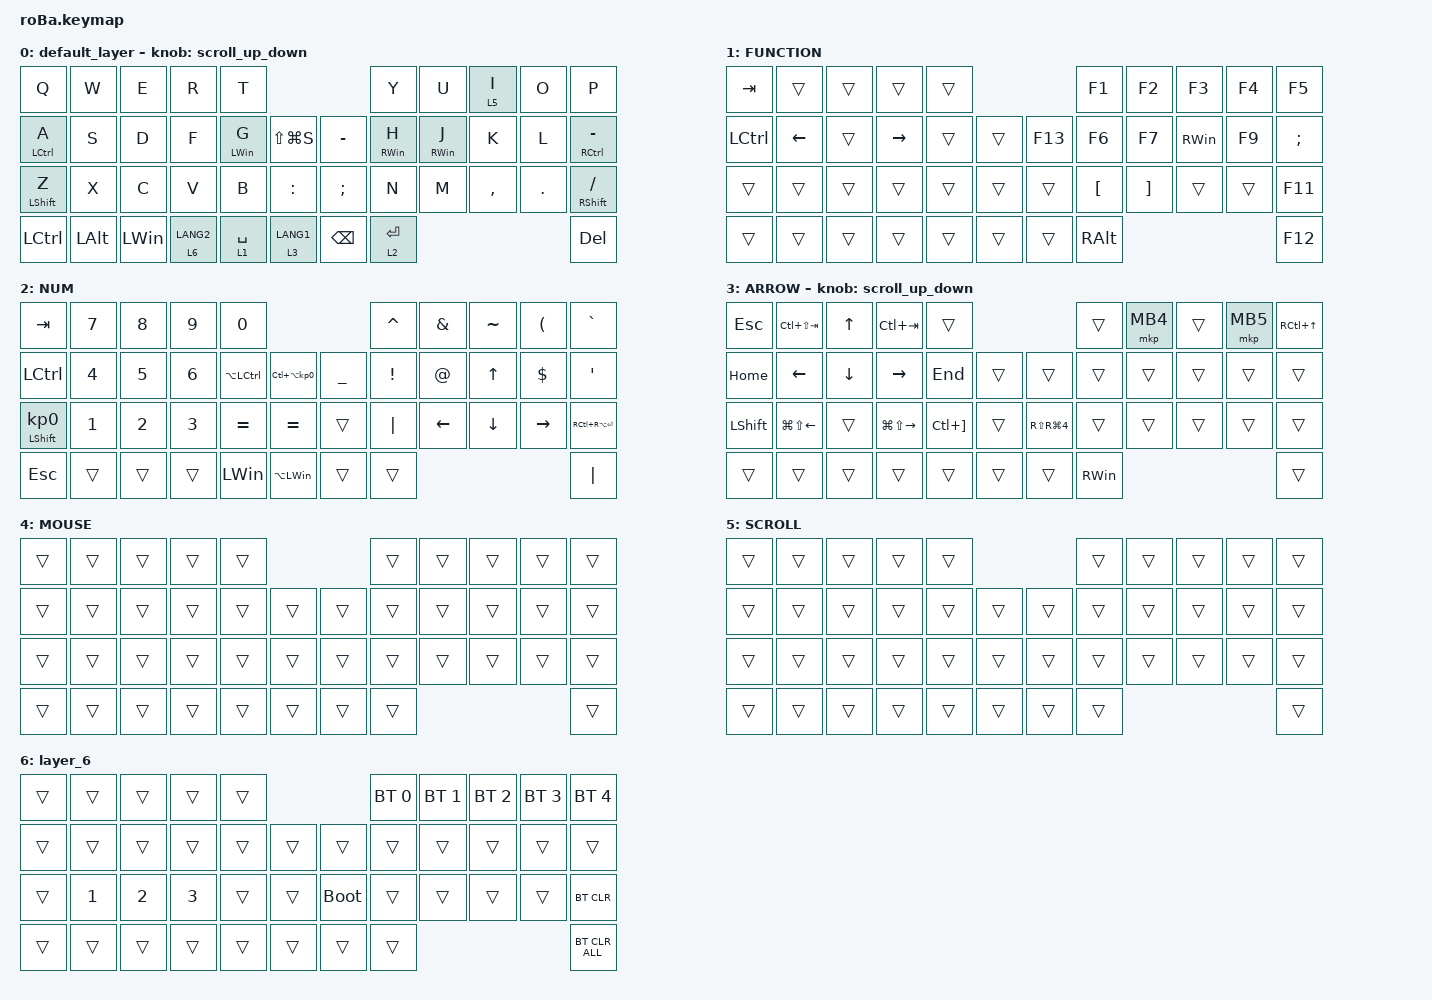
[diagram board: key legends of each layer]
// エンコーダ 1 ノッチあたりのマウススクロール量（デフォルト 10）。調整可能。

#define ZMK_POINTING_DEFAULT_SCRL_VAL 20

#include <behaviors.dtsi>
#include <dt-bindings/zmk/bt.h>
#include <dt-bindings/zmk/keys.h>
#include <dt-bindings/zmk/pointing.h>

&mt {
    flavor = "balanced";
    quick-tap-ms = <0>;
};

&trackball {
    automouse-layer = <4>;
    scroll-layers = <5>;

    // arrows {
    //     layers = <3>;
    //     bindings =
    //         <&kp RIGHT_ARROW>,
    //         <&kp LEFT_ARROW>,
    //         <&kp UP_ARROW>,
    //         <&kp DOWN_ARROW>;
    //     tick = <10>;
    //     wait-ms = <5>;
    //     tap-ms = <5>;
    // };
};

/ {
    combos {
        compatible = "zmk,combos";

        leftMouse {
            bindings = <&mkp MB1>;
            key-positions = <18 19>;
        };

        rightMouse {
            bindings = <&mkp MB2>;
            key-positions = <20 19>;
        };

        midMouse {
            bindings = <&mkp MB3>;
            key-positions = <18 20>;
        };
    };

    macros {
        to_layer_0: to_layer_0 {
            compatible = "zmk,behavior-macro-one-param";
            #binding-cells = <1>;
            bindings = <&to 0 &macro_param_1to1 &kp MACRO_PLACEHOLDER>;
            label = "TO_LAYER_0";
        };
    };

    behaviors {
        // ロータリーエンコーダにマウスホイールスクロールを割り当てる。
        // 時計回り: 上スクロール / 反時計回り: 下スクロール。方向を入れ替えたい場合は bindings の順序を反転する。

        scroll_up_down: scroll_up_down {
            compatible = "zmk,behavior-sensor-rotate";
            #sensor-binding-cells = <0>;
            bindings = <&msc SCRL_UP>, <&msc SCRL_DOWN>;

            // &msc は内部的に trigger-period-ms(デフォルト16ms)周期のワークキューでのみ
            // HIDレポートを生成するため、tap-ms が短すぎると release が先に来て
            // スクロール量が破棄され、何も送信されない。16msに対して十分な余裕を持たせる。
            tap-ms = <50>;
        };

        lt_to_layer_0: lt_to_layer_0 {
            compatible = "zmk,behavior-hold-tap";
            label = "LAYER_TAP_TO_0";
            bindings = <&mo>, <&to_layer_0>;

            #binding-cells = <2>;
            tapping-term-ms = <200>;
        };
    };

    keymap {
        compatible = "zmk,keymap";

        default_layer {
            bindings = <
&kp Q             &kp W         &kp E         &kp R                   &kp T                                                      &kp Y            &kp U            &lt 5 I    &kp O    &kp P
&mt LCTRL A       &kp S         &kp D         &kp F                   &mt LEFT_WIN G  &kp LS(LG(S))               &kp MINUS      &mt RIGHT_WIN H  &mt RIGHT_WIN J  &kp K      &kp L    &mt RCTRL MINUS
&mt LEFT_SHIFT Z  &kp X         &kp C         &kp V                   &kp B           &kp COLON                   &kp SEMICOLON  &kp N            &kp M            &kp COMMA  &kp DOT  &mt RIGHT_SHIFT SLASH
&kp LCTRL         &kp LEFT_ALT  &kp LEFT_WIN  &lt_to_layer_0 6 LANG2  &lt 1 SPACE     &lt_to_layer_0 3 LANG1      &kp BACKSPACE  &lt 2 ENTER                                           &kp DEL
            >;

            sensor-bindings = <&scroll_up_down>;
        };

        FUNCTION {
            bindings = <
&kp TAB           &trans          &trans  &trans           &trans                       &kp F1            &kp F2             &kp F3         &kp F4  &kp F5
&kp LEFT_CONTROL  &kp LEFT_ARROW  &trans  &kp RIGHT_ARROW  &trans  &trans      &kp F13  &kp F6            &kp F7             &kp RIGHT_WIN  &kp F9  &kp SEMI
&trans            &trans          &trans  &trans           &trans  &trans      &trans   &kp LEFT_BRACKET  &kp RIGHT_BRACKET  &trans         &trans  &kp F11
&trans            &trans          &trans  &trans           &trans  &trans      &trans   &kp RIGHT_ALT                                               &kp F12
            >;
        };

        NUM {
            bindings = <
&kp TAB                     &kp NUMBER_7  &kp NUMBER_8  &kp N9        &kp N0                                                      &kp CARET        &kp AMPERSAND   &kp TILDE       &kp LEFT_PARENTHESIS  &kp GRAVE
&kp LCTRL                   &kp N4        &kp NUMBER_5  &kp N6        &kp LA(LCTRL)  &kp LC(LA(KP_NUMBER_0))      &kp UNDERSCORE  &kp EXCLAMATION  &kp AT_SIGN     &kp UP_ARROW    &kp DOLLAR            &kp APOS
&mt LEFT_SHIFT KP_NUMBER_0  &kp N1        &kp NUMBER_2  &kp NUMBER_3  &kp EQUAL      &kp EQUAL                    &trans          &kp PIPE         &kp LEFT_ARROW  &kp DOWN_ARROW  &kp RIGHT_ARROW       &kp RC(RA(ENTER))
&kp ESCAPE                  &trans        &trans        &trans        &kp LEFT_WIN   &kp LA(LEFT_WIN)             &trans          &trans                                                                 &kp PIPE
            >;
        };

        ARROW {
            bindings = <
&kp ESCAPE      &kp LC(LS(TAB))         &kp UP_ARROW    &kp LC(TAB)              &trans                                                   &trans         &mkp MB4  &trans  &mkp MB5  &kp RC(UP_ARROW)
&kp HOME        &kp LEFT_ARROW          &kp DOWN_ARROW  &kp RIGHT_ARROW          &kp END                &trans      &trans                &trans         &trans    &trans  &trans    &trans
&kp LEFT_SHIFT  &kp LG(LS(LEFT_ARROW))  &trans          &kp LG(LS(RIGHT_ARROW))  &kp LC(RIGHT_BRACKET)  &trans      &kp RS(RG(NUMBER_4))  &trans         &trans    &trans  &trans    &trans
&trans          &trans                  &trans          &trans                   &trans                 &trans      &trans                &kp RIGHT_WIN                              &trans
            >;

            sensor-bindings = <&scroll_up_down>;
        };

        MOUSE {
            bindings = <
&trans  &trans  &trans  &trans  &trans                      &trans  &trans  &trans  &trans  &trans
&trans  &trans  &trans  &trans  &trans  &trans      &trans  &trans  &trans  &trans  &trans  &trans
&trans  &trans  &trans  &trans  &trans  &trans      &trans  &trans  &trans  &trans  &trans  &trans
&trans  &trans  &trans  &trans  &trans  &trans      &trans  &trans                          &trans
            >;
        };

        SCROLL {
            bindings = <
&trans  &trans  &trans  &trans  &trans                      &trans  &trans  &trans  &trans  &trans
&trans  &trans  &trans  &trans  &trans  &trans      &trans  &trans  &trans  &trans  &trans  &trans
&trans  &trans  &trans  &trans  &trans  &trans      &trans  &trans  &trans  &trans  &trans  &trans
&trans  &trans  &trans  &trans  &trans  &trans      &trans  &trans                          &trans
            >;
        };

        layer_6 {
            bindings = <
&trans  &trans        &trans        &trans        &trans                           &bt BT_SEL 0  &bt BT_SEL 1  &bt BT_SEL 2  &bt BT_SEL 3  &bt BT_SEL 4
&trans  &trans        &trans        &trans        &trans  &trans      &trans       &trans        &trans        &trans        &trans        &trans
&trans  &kp NUMBER_1  &kp NUMBER_2  &kp NUMBER_3  &trans  &trans      &bootloader  &trans        &trans        &trans        &trans        &bt BT_CLR
&trans  &trans        &trans        &trans        &trans  &trans      &trans       &trans                                                  &bt BT_CLR_ALL
            >;
        };
    };
};
